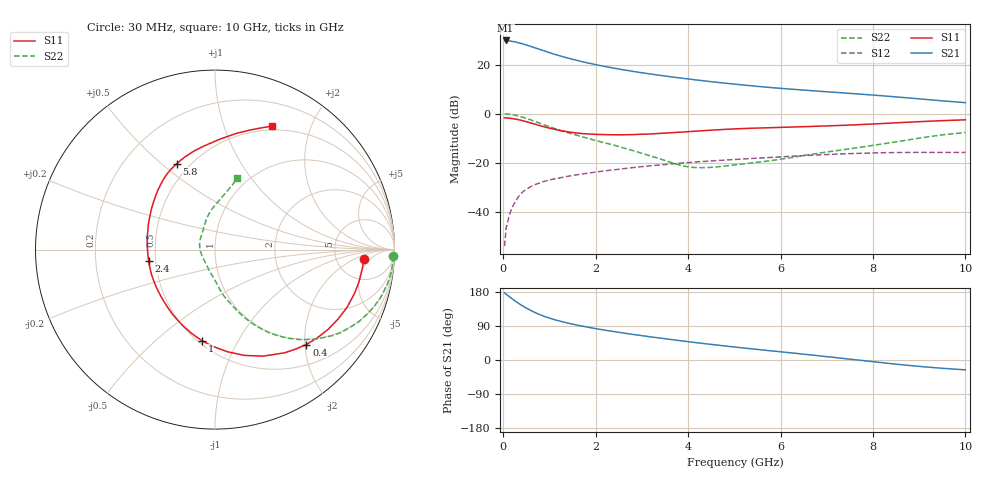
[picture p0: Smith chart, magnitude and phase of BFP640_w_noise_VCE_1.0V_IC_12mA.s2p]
! Infineon Technologies  Discrete & RF Semiconductors
! BFP640
! VCE =  1.0 V,  IC =  12 mA
! Common Emitter S-Parameters:  Apr 2013
# GHz  S  MA  R  50
!  f  S11  S21  S12  S22
! GHz  MAG  ANG  MAG  ANG  MAG  ANG  MAG  ANG
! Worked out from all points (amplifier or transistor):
!   99 points, 30 MHz to 10 GHz, reference 50 ohm
!   highest |S21| = 30.0 dB at 50 MHz (marker M1)
!   |S21| within 3 dB of that: start of sweep to 686.4 MHz
!   unconditionally stable (mu >= 1): 3.62 GHz to end of sweep
!   at 350 MHz: K = 0.18, MSG = 31.1 dB, |S12| = -33.3 dB
!   at 3.5 GHz: K = 0.99, MSG = 18.1 dB, |S12| = -20.6 dB
!   at 10 GHz: K = 1.09, MAG = 8.3 dB, |S12| = -15.7 dB
!   lowest NFmin = 0.69 dB at 450 MHz
!   S11 on the Smith chart (normalised r, x): 30 MHz: 10, -3; 400 MHz: 0.89, -2.03; 1 GHz: 0.52, -0.72; 2.4 GHz: 0.46, -0.07; 5.8 GHz: 0.43, +0.56; 10 GHz: 0.45, +1.46
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0.03  0.83 -3.6  31.19 176.8  0.002 82.1  0.9924 -2.1
0.05  0.8285 -6.1  31.48 175.1  0.0033 72.5  0.9924 -4.1
0.15  0.8131 -18.1  30.74 165.4  0.0096 83.5  0.9761 -12.1
0.25  0.7869 -29.6  29.49 156.4  0.0154 75.7  0.9417 -19.7
0.4  0.7339 -46.1  27.19 144.1  0.0244 69.1  0.8654 -30.2
0.5  0.6933 -56.1  25.45 137.0  0.0289 64.7  0.8089 -36.4
0.6  0.6517 -65.6  23.72 130.5  0.033 61.1  0.7515 -41.6
0.7  0.6114 -74.6  22.07 124.6  0.0364 58.3  0.6946 -46.3
0.8  0.5726 -83.2  20.56 119.3  0.0393 55.6  0.6412 -50.4
1  0.5131 -98.1  17.77 110.7  0.0446 51.4  0.5486 -57.2
1.1  0.4865 -105.1  16.61 106.8  0.0472 49.8  0.5083 -59.9
1.3  0.4453 -117.7  14.59 100.3  0.0512 47.7  0.441 -64.5
1.7  0.3971 -139.8  11.68 89.6  0.0591 44.6  0.3419 -71.5
2  0.3823 -153.9  10.12 82.9  0.065 42.5  0.2873 -76.5
2.4  0.3752 -170.3  8.548 75.0  0.0723 40.2  0.2296 -82.5
3.4  0.4006 156.9  6.105 57.7  0.0911 33.4  0.1203 -105.9
4.2  0.4469 137.6  4.899 45.4  0.105 27.4  0.0801 -153.1
5.1  0.4978 122.6  3.962 33.0  0.1188 20.6  0.0934 156.6
5.8  0.5237 113.9  3.441 24.1  0.1296 15.3  0.1116 131.5
6.7  0.5563 103.6  2.963 12.8  0.1437 7.8  0.151 112.3
8.5  0.6575 79.7  2.222 -11.0  0.1628 -9.6  0.2689 86.1
10  0.7567 65.3  1.695 -26.0  0.1635 -20.6  0.4175 72.7
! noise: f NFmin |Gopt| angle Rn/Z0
0.45  0.69  0.21  8  0.03
0.9  0.7  0.2  17  0.04
1.5  0.72  0.18  28  0.05
1.9  0.74  0.14  47  0.05
2.4  0.78  0.12  58  0.06
3.5  0.9  0.11  69  0.08
5.5  1.11  0.21  -115  0.11
10  1.67  0.58  -59  0.41
